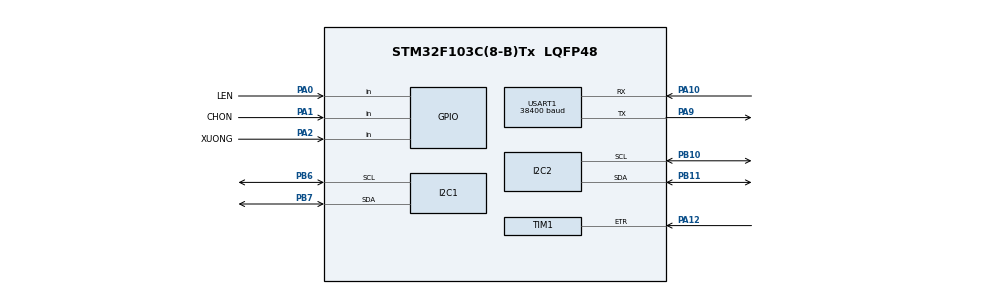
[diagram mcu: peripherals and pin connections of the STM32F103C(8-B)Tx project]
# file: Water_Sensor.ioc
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Mcu.Family=STM32F1
Mcu.Name=STM32F103C(8-B)Tx
Mcu.Package=LQFP48
NVIC.PriorityGroup=NVIC_PRIORITYGROUP_4
NVIC.USART1_IRQn=true\:0\:0\:false\:false\:true\:true\:true\:true
PA0-WKUP.GPIO_Label=LEN
PA0-WKUP.GPIO_PuPd=GPIO_PULLUP
PA0-WKUP.Signal=GPIO_Input
PA1.GPIO_Label=CHON
PA1.GPIO_PuPd=GPIO_PULLUP
PA1.Signal=GPIO_Input
PA10.Mode=Asynchronous
PA10.Signal=USART1_RX
PA12.Signal=S_TIM1_ETR
PA13.Mode=Serial_Wire
PA13.Signal=SYS_JTMS-SWDIO
PA14.Mode=Serial_Wire
PA14.Signal=SYS_JTCK-SWCLK
PA2.GPIO_Label=XUONG
PA2.GPIO_PuPd=GPIO_PULLUP
PA2.Signal=GPIO_Input
PA9.Mode=Asynchronous
PA9.Signal=USART1_TX
PB10.Mode=I2C
PB10.Signal=I2C2_SCL
PB11.Mode=I2C
PB11.Signal=I2C2_SDA
PB6.Mode=I2C
PB6.Signal=I2C1_SCL
PB7.Mode=I2C
PB7.Signal=I2C1_SDA
PD0-OSC_IN.Mode=HSE-External-Oscillator
PD0-OSC_IN.Signal=RCC_OSC_IN
PD1-OSC_OUT.Mode=HSE-External-Oscillator
PD1-OSC_OUT.Signal=RCC_OSC_OUT
ProjectManager.HeapSize=0x200
ProjectManager.StackSize=0x400
ProjectManager.TargetToolchain=STM32CubeIDE
RCC.APB1Freq_Value=8000000
RCC.APB2Freq_Value=8000000
RCC.SYSCLKSource=RCC_SYSCLKSOURCE_HSE
RCC.USBFreq_Value=8000000
SH.S_TIM1_ETR.0=TIM1_ETR,ClockSourceETR_Mode2
USART1.BaudRate=38400
USART1.VirtualMode=VM_ASYNC
board=custom

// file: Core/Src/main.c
/* USER CODE BEGIN Header */
/**
  ******************************************************************************
  * @file           : main.c
  * @brief          : Main program body
  ******************************************************************************
  * @attention
  *
  * Copyright (c) 2024 STMicroelectronics.
  * All rights reserved.
  *
  * This software is licensed under terms that can be found in the LICENSE file
  * in the root directory of this software component.
  * If no LICENSE file comes with this software, it is provided AS-IS.
  *
  ******************************************************************************
  */
/* USER CODE END Header */
#include "main.h"
#include "i2c-lcd.h"
#include <stdio.h>
#include <string.h>
#include <stdlib.h>
#include "DS3231.h"

/* USER CODE BEGIN Includes */

char a[6], b[6], c[6];// a cho flowrate, b cho today, c cho thismonth: Mảng này được sử dụng để chuyển từ float sang char để hiển thị lên LCD
char Rx_data[15], Tx_data[30]; // Hai mảng này dùng để lưu giá trị nhận được từ module Zigbee

volatile int  Pulse_Count; // Khai báo volatile do biến này sẽ thay đổi liên tục trong quá trình hệ thống hoạt động
float  Liter_per_minute = 0, flowrate = 0;
unsigned long Current_Time, Loop_Time;
float calibrationFactor = 6.5;
float today = 0, thismonth = 0;
int m = 1, i =0; // m = month để coi cosumed từng tháng. i là biến trạng thái ban đầu cho chức năng coi cosumed từng tháng
int state = 0;
int gtlen;
int gtmenu;
int gtxuong;
int demtong = 0;

/* USER CODE END Includes */

I2C_HandleTypeDef hi2c1;
I2C_HandleTypeDef hi2c2;

TIM_HandleTypeDef htim1;

UART_HandleTypeDef huart1;

void SystemClock_Config(void);
static void MX_GPIO_Init(void);
static void MX_I2C1_Init(void);
static void MX_TIM1_Init(void);
static void MX_USART1_UART_Init(void);
static void MX_I2C2_Init(void);
void resetTimerCounter(TIM_HandleTypeDef *htim);

/* USER CODE BEGIN 0 */

void resetTimerCounter(TIM_HandleTypeDef *htim)
{
    htim->Instance->CNT = 0; //
}

/* USER CODE END 0 */

int main(void)
{

  /* MCU Configuration--------------------------------------------------------*/

  /* Reset of all peripherals, Initializes the Flash interface and the Systick. */
  HAL_Init();

  /* Configure the system clock */
  SystemClock_Config();

  /* Initialize all configured peripherals */
  MX_GPIO_Init();
  MX_I2C1_Init();
  MX_TIM1_Init();
  MX_USART1_UART_Init();
  MX_I2C2_Init();

  	lcd_init();
    state = EEPROM_ReadFloat(0x0010);
    if(state == 1){
    Set_Time(00, 25, 21, 1, 2, 6, 24); // Cài đặt thời gian ban đầu second, minute, hour, date, day, month,year
    state = 0;
    EEPROM_WriteFloat(0x0010,state);
    }

	for(int n = 1; n<13; n ++){
	   addr = 0x0020 + (n-1)*4;
	   EEPROM_WriteFloat(addr,n*2);
	 }

    lcd_goto_XY(2,0);
    lcd_send_string("RATE= ");
    lcd_goto_XY(3,0);
    lcd_send_string("TODAY= ");
    lcd_goto_XY(4,0);
    lcd_send_string("MONTH= ");
    lcd_goto_XY(1,12);
    lcd_send_string("T= ");
    Get_Time(); // Lấy giá trị thời gian ngày, tháng, năm từ DS3231
    Time_LCD(); // Hàm hiển thị thời gian lên LCD
    HAL_UART_Receive_IT(&huart1, (uint8_t*)Rx_data, 1); // Kích hoạt ngắt nhận UART khi nhận dc 1 byte data
    HAL_TIM_Base_Start(&htim1); // Khởi động Timer 1 bắt đầu đếm
    Current_Time = HAL_GetTick(); // Lấy giá trị thời gian hiện tại
    Loop_Time = Current_Time;

    /* Infinite loop */
    /* USER CODE BEGIN WHILE */
    while (1){

      if(demtong == 0){

          gtxuong = HAL_GPIO_ReadPin(GPIOA, XUONG_Pin);
          if(gtxuong == 0){
          while(!gtxuong == 0);
    	  EEPROM_WriteFloat(0x0001,0);
    	  EEPROM_WriteFloat(0x0005,0);
          }

          gtmenu = HAL_GPIO_ReadPin(GPIOA, CHON_Pin);
          if(gtmenu == 0){
          while(!gtmenu == 0);
          	 demtong = 1;
          	 HAL_Delay(200);
          }
      /* USER CODE END WHILE */
  	  Get_Time(); // Đọc giá trị ngày, tháng, năm từ DS3231
  	  if(dayofmonth_t != dayofmonth || month_t != month || year_t != year){
  		  if(month != month){// Nếu qua tháng mới thì lưu giá trị và reset thismonth
  			  Save_Month(thismonth);
  			  thismonth = 0;
  		  }
  		  if(dayofmonth_t != dayofmonth){// Nếu qua ngày mới thì reset today
  			  today = 0;
  		  }
  		  if(year_t != year){// Nếu qua năm mới thì xóa tất cả giá trị lưu trữ trong từng tháng
  		    for(int n = 1; n<13; n ++){
  		    	addr = 0x0020 + (n-1)*4;
  		    	EEPROM_WriteFloat(addr,0);
  		    }
  		  }
  	  	Time_LCD();
  	  }

  	  force_temp_conv();
  	  TEMP = Get_Temp(); //Đọc giá trị nhiệt độ
  	  sprintf (buffer, "%.2f", TEMP);
  	  lcd_goto_XY(1, 15);
  	  lcd_send_string(buffer);

  	  today = EEPROM_ReadFloat(0x0001);
  	  thismonth = EEPROM_ReadFloat(0x0005);

  	  Current_Time = HAL_GetTick();
  	  Pulse_Count = __HAL_TIM_GET_COUNTER(&htim1); // Lấy giá trị đếm được từ thanh ghi CNT
  	  if(Current_Time >= (Loop_Time + 1000))
  	  {
  	  	flowrate = ((1000.0 / (HAL_GetTick() - Loop_Time)) * Pulse_Count) / calibrationFactor;
  	  	Loop_Time = Current_Time;
  	  	Liter_per_minute = (flowrate / 60);

  	  	today += Liter_per_minute;
  	  	thismonth = today;

  	  	sprintf (Tx_data, "P2P 0000 R%.2fV%.2fM%.2fS", flowrate, today, thismonth);// Đóng gói dữ liệu để truyền qua Zigbee

  	  	EEPROM_WriteFloat(0x0001,today);
  	  	EEPROM_WriteFloat(0x0005,thismonth);

  	  	sprintf(a,"%.2f",flowrate);
  	    sprintf(b,"%.2f",EEPROM_ReadFloat(0x0001));
  	  	sprintf(c,"%.2f",EEPROM_ReadFloat(0x0005));

  	  	lcd_goto_XY(2,8);
  	  	lcd_send_string("          ");
  	  	lcd_goto_XY(2,8);
  	  	lcd_send_string(a);
  	  	lcd_send_string(" L/M");

  	  	lcd_goto_XY(3,8);
  	  	lcd_send_string("           ");
  	  	lcd_goto_XY(3,8);
  	  	lcd_send_string(b);
  	  	lcd_send_string(" L");

  	  	lcd_goto_XY(4,7);
  	  	lcd_send_string("          ");
  	  	lcd_goto_XY(4,8);
  	  	lcd_send_string(c);
  	  	lcd_send_string(" L");

  	  	resetTimerCounter(&htim1);

  	  }}
      else if(demtong == 1){ // Chức năng xem thể tích nước đã sử dụng ở tưng tháng cụ thể
    	  if(i == 0){ // Mới đầu vô sẽ clear LCD và cài đặt các chế độ ban đầu
		  lcd_clear_display();
		  HAL_Delay(10);
		  lcd_goto_XY(1,0);
		  lcd_send_string("MONTH: ");
		  lcd_goto_XY(2,0);
		  lcd_send_string("CONSUMED: ");
		  addr = 0x0020 + (m-1)*4;
		  float consumed = EEPROM_ReadFloat(addr);
		  sprintf(a,"%d",m);
		  sprintf(b,"%.2f",consumed);
		  lcd_goto_XY(1,7);
	  	  lcd_send_string(a);
		  lcd_goto_XY(2,10);
	  	  lcd_send_string(b);
	  	  i = 1;
	  	  HAL_Delay(100);
    	  }
          gtlen = HAL_GPIO_ReadPin(GPIOA, LEN_Pin);
          gtxuong = HAL_GPIO_ReadPin(GPIOA, XUONG_Pin);
          gtmenu = HAL_GPIO_ReadPin(GPIOA, CHON_Pin);
          if(gtlen == 0)
          {
        	  if( m == 12 ){m = 1;}
        	  else m = m + 1;
          }
		  if(gtxuong == 0)
		  {
			  if(m == 1) {m = 12;}
			  else m = m - 1;
		  }

		  addr = 0x0020 + (m-1)*4;
		  float consumed = EEPROM_ReadFloat(addr);
		  sprintf(b,"%.2f",consumed);
	  	  sprintf(a,"%d",m);
		  lcd_goto_XY(1,7);
		  lcd_send_string("        ");
		  lcd_goto_XY(2,10);
		  lcd_send_string("        ");
	  	  lcd_goto_XY(1,7);
	  	  lcd_send_string(a);
		  lcd_goto_XY(2,10);
		  lcd_send_string(b);
		  lcd_send_string(" L");

          if(gtmenu == 0)
          {
        	  demtong = 0;
        	  i = 0;
        	  m = 1;
        	  lcd_clear_display();
        	  HAL_Delay(10);
        	  lcd_goto_XY(2,0);
        	  lcd_send_string("RATE= ");
        	  lcd_goto_XY(3,0);
        	  lcd_send_string("TODAY= ");
        	  lcd_goto_XY(4,0);
        	  lcd_send_string("MONTH= ");
        	  lcd_goto_XY(1,12);
        	  lcd_send_string("T= ");
        	  Get_Time();
        	  Time_LCD();
        	  Current_Time = HAL_GetTick();
        	  Loop_Time = Current_Time;
          }
          HAL_Delay(120);
      }
    }
  /* USER CODE END 3 */
}

void HAL_UART_RxCpltCallback(UART_HandleTypeDef *huart){ // hàm ngắt UART để nhận dữ liệu (Khi nhận dc dữ liệu từ chân RX thì thoát ra khỏi vòng while và nhảy vào hàm này)
	/*if(Rx_data[0] =='0'&& Rx_data[1] == '0' && Rx_data[2] == '1'){
		//HAL_UART_Transmit(&huart1, (uint8_t*) b, sizeof(b),1000);
		HAL_UART_Transmit(&huart1, (uint8_t*) Tx_data, sizeof(Tx_data),10);
		//memset(Rx_data, 0, sizeof(Rx_data));
	}
	HAL_UART_Receive_IT(&huart1, (uint8_t*)Rx_data, 3);*/
	if(Rx_data[0] =='R'){
		HAL_UART_Transmit(&huart1, (uint8_t*) Tx_data, sizeof(Tx_data),10);
		//memset(Rx_data, 0, sizeof(Rx_data));
	}
	else if(Rx_data[0] =='A'){ // Gửi giá trị thể tích nước đã tiêu thụ trong tháng 10
		addr = 0x0020 + (10-1)*4;
		float consumed = EEPROM_ReadFloat(addr);
		sprintf (Tx_data, "P2P 0000 L%.2fS", consumed);// Đóng gói dữ liệu để truyền qua Zigbee
		HAL_UART_Transmit(&huart1, (uint8_t*) Tx_data, sizeof(Tx_data),10);
		//memset(Rx_data, 0, sizeof(Rx_data));
	}
	else if(Rx_data[0] =='B'){ // Gửi giá trị thể tích nước đã tiêu thụ trong tháng 11
		addr = 0x0020 + (11-1)*4;
		float consumed = EEPROM_ReadFloat(addr);
		sprintf (Tx_data, "P2P 0000 L%.2fS", consumed);// Đóng gói dữ liệu để truyền qua Zigbee
		HAL_UART_Transmit(&huart1, (uint8_t*) Tx_data, sizeof(Tx_data),10);
		//memset(Rx_data, 0, sizeof(Rx_data));
	} else if(Rx_data[0] =='C'){ // Gửi giá trị thể tích nước đã tiêu thụ trong tháng 12
		addr = 0x0020 + (12-1)*4;
		float consumed = EEPROM_ReadFloat(addr);
		sprintf (Tx_data, "P2P 0000 L%.2fS", consumed);// Đóng gói dữ liệu để truyền qua Zigbee
		HAL_UART_Transmit(&huart1, (uint8_t*) Tx_data, sizeof(Tx_data),10);
		//memset(Rx_data, 0, sizeof(Rx_data));
	} else { // Gửi giá trị thể tích nước đã tiêu thụ từ tháng 1 - 9
		int value = Rx_data[0] - '0';
		addr = 0x0020 + (value-1)*4;
		float consumed = EEPROM_ReadFloat(addr);
		sprintf (Tx_data, "P2P 0000 L%.2fS", consumed);// Đóng gói dữ liệu để truyền qua Zigbee
		HAL_UART_Transmit(&huart1, (uint8_t*) Tx_data, sizeof(Tx_data),10);
	}
	HAL_UART_Receive_IT(&huart1, (uint8_t*)Rx_data, 1);
}

void SystemClock_Config(void)
{
  RCC_OscInitTypeDef RCC_OscInitStruct = {0};
  RCC_ClkInitTypeDef RCC_ClkInitStruct = {0};

  /** Initializes the RCC Oscillators according to the specified parameters
  * in the RCC_OscInitTypeDef structure.
  */
  RCC_OscInitStruct.OscillatorType = RCC_OSCILLATORTYPE_HSE;
  RCC_OscInitStruct.HSEState = RCC_HSE_ON;
  RCC_OscInitStruct.PLL.PLLState = RCC_PLL_NONE;
  if (HAL_RCC_OscConfig(&RCC_OscInitStruct) != HAL_OK)
  {
    Error_Handler();
  }

  /** Initializes the CPU, AHB and APB buses clocks
  */
  RCC_ClkInitStruct.ClockType = RCC_CLOCKTYPE_HCLK|RCC_CLOCKTYPE_SYSCLK
                              |RCC_CLOCKTYPE_PCLK1|RCC_CLOCKTYPE_PCLK2;
  RCC_ClkInitStruct.SYSCLKSource = RCC_SYSCLKSOURCE_HSE;
  RCC_ClkInitStruct.AHBCLKDivider = RCC_SYSCLK_DIV1;
  RCC_ClkInitStruct.APB1CLKDivider = RCC_HCLK_DIV1;
  RCC_ClkInitStruct.APB2CLKDivider = RCC_HCLK_DIV1;

  if (HAL_RCC_ClockConfig(&RCC_ClkInitStruct, FLASH_LATENCY_0) != HAL_OK)
  {
    Error_Handler();
  }
}

static void MX_I2C1_Init(void)
{

  hi2c1.Instance = I2C1;
  hi2c1.Init.ClockSpeed = 100000;
  hi2c1.Init.DutyCycle = I2C_DUTYCYCLE_2;
  hi2c1.Init.OwnAddress1 = 0;
  hi2c1.Init.AddressingMode = I2C_ADDRESSINGMODE_7BIT;
  hi2c1.Init.DualAddressMode = I2C_DUALADDRESS_DISABLE;
  hi2c1.Init.OwnAddress2 = 0;
  hi2c1.Init.GeneralCallMode = I2C_GENERALCALL_DISABLE;
  hi2c1.Init.NoStretchMode = I2C_NOSTRETCH_DISABLE;
  if (HAL_I2C_Init(&hi2c1) != HAL_OK)
  {
    Error_Handler();
  }

}

static void MX_I2C2_Init(void)
{

  hi2c2.Instance = I2C2;
  hi2c2.Init.ClockSpeed = 100000;
  hi2c2.Init.DutyCycle = I2C_DUTYCYCLE_2;
  hi2c2.Init.OwnAddress1 = 0;
  hi2c2.Init.AddressingMode = I2C_ADDRESSINGMODE_7BIT;
  hi2c2.Init.DualAddressMode = I2C_DUALADDRESS_DISABLE;
  hi2c2.Init.OwnAddress2 = 0;
  hi2c2.Init.GeneralCallMode = I2C_GENERALCALL_DISABLE;
  hi2c2.Init.NoStretchMode = I2C_NOSTRETCH_DISABLE;
  if (HAL_I2C_Init(&hi2c2) != HAL_OK)
  {
    Error_Handler();
  }

}

static void MX_TIM1_Init(void)
{

  TIM_ClockConfigTypeDef sClockSourceConfig = {0};
  TIM_MasterConfigTypeDef sMasterConfig = {0};

  htim1.Instance = TIM1;
  htim1.Init.Prescaler = 0;
  htim1.Init.CounterMode = TIM_COUNTERMODE_UP;
  htim1.Init.Period = 65535;
  htim1.Init.ClockDivision = TIM_CLOCKDIVISION_DIV1;
  htim1.Init.RepetitionCounter = 0;
  htim1.Init.AutoReloadPreload = TIM_AUTORELOAD_PRELOAD_DISABLE;
  if (HAL_TIM_Base_Init(&htim1) != HAL_OK)
  {
    Error_Handler();
  }
  sClockSourceConfig.ClockSource = TIM_CLOCKSOURCE_ETRMODE2;
  sClockSourceConfig.ClockPolarity = TIM_CLOCKPOLARITY_NONINVERTED;
  sClockSourceConfig.ClockPrescaler = TIM_CLOCKPRESCALER_DIV1;
  sClockSourceConfig.ClockFilter = 0;
  if (HAL_TIM_ConfigClockSource(&htim1, &sClockSourceConfig) != HAL_OK)
  {
    Error_Handler();
  }
  sMasterConfig.MasterOutputTrigger = TIM_TRGO_RESET;
  sMasterConfig.MasterSlaveMode = TIM_MASTERSLAVEMODE_DISABLE;
  if (HAL_TIMEx_MasterConfigSynchronization(&htim1, &sMasterConfig) != HAL_OK)
  {
    Error_Handler();
  }

}

static void MX_USART1_UART_Init(void)
{

  huart1.Instance = USART1;
  huart1.Init.BaudRate = 38400;
  huart1.Init.WordLength = UART_WORDLENGTH_8B;
  huart1.Init.StopBits = UART_STOPBITS_1;
  huart1.Init.Parity = UART_PARITY_NONE;
  huart1.Init.Mode = UART_MODE_TX_RX;
  huart1.Init.HwFlowCtl = UART_HWCONTROL_NONE;
  huart1.Init.OverSampling = UART_OVERSAMPLING_16;
  if (HAL_UART_Init(&huart1) != HAL_OK)
  {
    Error_Handler();
  }

}

static void MX_GPIO_Init(void)
{
  GPIO_InitTypeDef GPIO_InitStruct = {0};

  /* GPIO Ports Clock Enable */
  __HAL_RCC_GPIOD_CLK_ENABLE();
  __HAL_RCC_GPIOA_CLK_ENABLE();
  __HAL_RCC_GPIOB_CLK_ENABLE();

  /*Configure GPIO pins : LEN_Pin CHON_Pin XUONG_Pin */
  GPIO_InitStruct.Pin = LEN_Pin|CHON_Pin|XUONG_Pin;
  GPIO_InitStruct.Mode = GPIO_MODE_INPUT;
  GPIO_InitStruct.Pull = GPIO_PULLUP;
  HAL_GPIO_Init(GPIOA, &GPIO_InitStruct);

}

void Error_Handler(void)
{
  __disable_irq();
  while (1)
  {
  }
}
